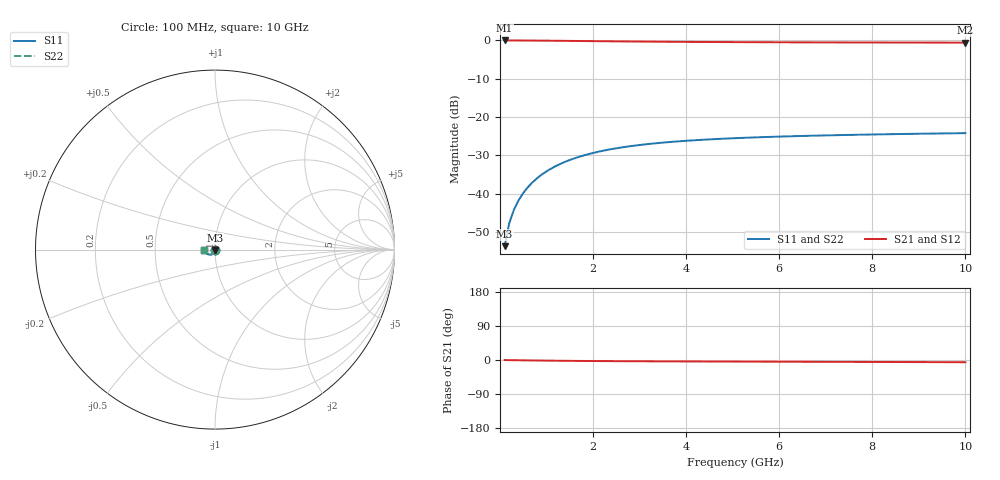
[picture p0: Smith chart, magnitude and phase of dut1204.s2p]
! Touchstone file exported from HFSS 2024.1.0
!  File:  C:/UserFiles/LocalFiles/RDL_TSV_Batchsim/temp_TSV1_1204_1780247762.aedt
!  Generated:  01:26:27 AM Jun  1, 2026
!  Design:  TSV1
!  Project:  temp_TSV1_1204_1780247762
!  Setup:  Setup1
!  Solution:  Sweep
! Variables:
!  dtsv = 12.65um
!  hbump = 3um
!  htsv = 91.98um
!  lrdl = 252.1521522um
!  p = 40
!  p1 = 57.23um
!  t = 500um
!  trdl = 3um
!  wrdl = 24.89489489um
# GHz S MA R 50.000000
! Terminal data exported
! Port[1] = TSV22_T1
! Port[2] = TSV22_T2
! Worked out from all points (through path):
!   100 points, 100 MHz to 10 GHz, reference 50 ohm
!   highest |S21| = 0.00 dB at 100 MHz (marker M1); lowest = -0.6 dB at 10 GHz (marker M2)
!   lowest |S11| = -53.7 dB at 100 MHz (marker M3), VSWR 1.00, Z = 50 - j0.205 ohm
!   |S11| at or under -10 dB: start of sweep to end of sweep
!   |S22| runs from -53.7 to -24.2 dB; largest |S21 - S12| = 3.5e-15
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0.1  0.002055 -89.4  0.9998 -0.2  0.9998 -0.2  0.002055 -89.4
! Gamma 0 0 0 0
! Port Impedance 50 0 50 0
0.2  0.004103 -92.8  0.9996 -0.4  0.9996 -0.4  0.004103 -92.8
0.3  0.006142 -95.3  0.9992 -0.5  0.9992 -0.5  0.006142 -95.3
0.4  0.008163 -97.7  0.9986 -0.7  0.9986 -0.7  0.008163 -97.7
0.5  0.01016 -99.9  0.998 -0.9  0.998 -0.9  0.01016 -99.9
0.6  0.01212 -102.1  0.9972 -1.0  0.9972 -1.0  0.01212 -102.1
0.7  0.01404 -104.2  0.9963 -1.2  0.9963 -1.2  0.01404 -104.2
0.8  0.01591 -106.3  0.9953 -1.3  0.9953 -1.3  0.01591 -106.3
0.9  0.01773 -108.4  0.9942 -1.5  0.9942 -1.5  0.01773 -108.4
1.1  0.02121 -112.3  0.9918 -1.8  0.9918 -1.8  0.02121 -112.3
1.4  0.02598 -117.8  0.9878 -2.1  0.9878 -2.1  0.02598 -117.8
1.6  0.02885 -121.3  0.985 -2.4  0.985 -2.4  0.02885 -121.3
1.8  0.03149 -124.5  0.9822 -2.5  0.9822 -2.5  0.03149 -124.5
2.1  0.03502 -129.0  0.9781 -2.8  0.9781 -2.8  0.03502 -129.0
2.5  0.03902 -134.4  0.9729 -3.1  0.9729 -3.1  0.03902 -134.4
2.9  0.04233 -139.2  0.9682 -3.3  0.9682 -3.3  0.04233 -139.2
3.4  0.04569 -144.4  0.9631 -3.6  0.9631 -3.6  0.04569 -144.4
4.2  0.04976 -151.4  0.9565 -3.9  0.9565 -3.9  0.04976 -151.4
5.1  0.05305 -157.9  0.9509 -4.2  0.9509 -4.2  0.05305 -157.9
6.7  0.05695 -166.9  0.9442 -4.7  0.9442 -4.7  0.05695 -166.9
8.4  0.05966 -174.4  0.9397 -5.3  0.9397 -5.3  0.05966 -174.4
10  0.06155 179.8  0.9369 -5.9  0.9369 -5.9  0.06155 179.8
